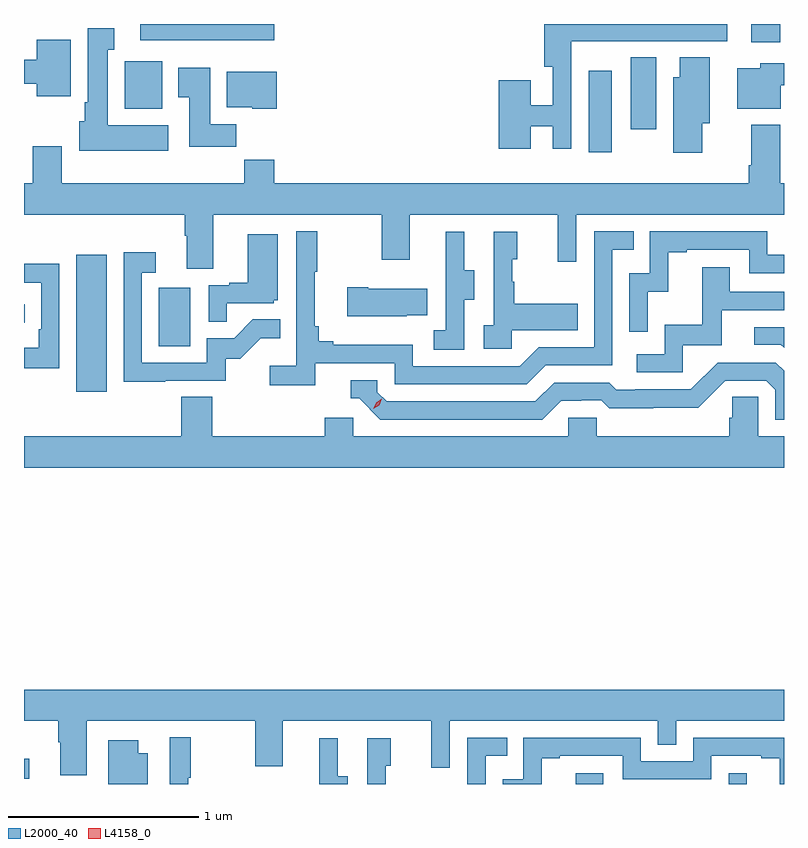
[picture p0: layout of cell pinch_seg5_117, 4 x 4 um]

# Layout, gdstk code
import gdstk
lib = gdstk.Library(unit=1e-6, precision=1e-09)
def R(c, l, rs):  # rectangles x0, y0, x1, y1
    for r in rs: c.add(gdstk.rectangle(r[:2], r[2:], *l))
def P(c, l, *ps):  # polygons
    for p in ps: c.add(gdstk.Polygon(p, *l))
L2000_40 = (2000, 40)
L4158_0 = (4158, 0)

pinch_seg5_117 = lib.new_cell('pinch_seg5_117')
R(pinch_seg5_117, L2000_40, [(1020.439,885.731,1020.583,885.787), (1021.242,885.731,1021.339,885.787), (1017.534,885.759,1017.562,885.865), (1017.809,887.796,1017.97,888.517), (1018.244,888.036,1018.408,888.343), (1017.534,888.159,1017.538,888.255), (1020.506,889.056,1020.628,889.486), (1020.728,889.176,1020.862,889.556), (1018.065,889.286,1018.261,889.536), (1021.361,889.635,1021.514,889.731), (1018.145,889.646,1018.85,889.731)])
P(pinch_seg5_117, L2000_40, [(1020.202,889.194),(1020.318,889.194),(1020.318,889.074),(1020.414,889.074),(1020.414,889.64),(1020.624,889.64),(1020.624,889.641),(1021.234,889.641),(1021.234,889.731),(1020.272,889.731),(1020.272,889.505),(1020.318,889.505),(1020.318,889.304),(1020.202,889.304),(1020.202,889.435),(1020.032,889.435),(1020.032,889.074),(1020.202,889.074)],
  [(1018.294,889.198),(1017.976,889.198),(1017.976,889.595),(1018.009,889.595),(1018.009,889.708),(1017.869,889.708),(1017.869,889.318),(1017.854,889.318),(1017.854,889.218),(1017.824,889.218),(1017.824,889.064),(1018.294,889.064)],
  [(1017.781,889.648),(1017.602,889.648),(1017.602,889.544),(1017.534,889.544),(1017.534,889.416),(1017.602,889.416),(1017.602,889.352),(1017.781,889.352)],
  [(1021.105,889.208),(1021.144,889.208),(1021.144,889.556),(1020.986,889.556),(1020.986,889.45),(1020.95,889.45),(1020.95,889.053),(1021.105,889.053)],
  [(1021.516,889.408),(1021.534,889.408),(1021.534,889.524),(1021.41,889.524),(1021.41,889.498),(1021.289,889.498),(1021.289,889.286),(1021.516,889.286)],
  [(1018.652,889.204),(1018.513,889.204),(1018.513,889.501),(1018.346,889.501),(1018.346,889.345),(1018.403,889.345),(1018.403,889.086),(1018.652,889.086)],
  [(1018.865,889.48),(1018.601,889.48),(1018.601,889.292),(1018.734,889.292),(1018.734,889.286),(1018.865,889.286)],
  [(1018.531,888.728),(1019.416,888.728),(1019.416,888.489),(1019.563,888.489),(1019.563,888.728),(1020.344,888.728),(1020.344,888.48),(1020.441,888.48),(1020.441,888.728),(1021.534,888.728),(1021.534,888.892),(1021.514,888.892),(1021.514,889.201),(1021.361,889.201),(1021.361,888.988),(1021.349,888.988),(1021.349,888.892),(1018.85,888.892),(1018.85,889.016),(1018.693,889.016),(1018.693,888.892),(1017.733,888.892),(1017.733,889.087),(1017.581,889.087),(1017.581,888.892),(1017.534,888.892),(1017.534,888.728),(1018.379,888.728),(1018.379,888.616),(1018.391,888.616),(1018.391,888.442),(1018.531,888.442)],
  [(1019.066,887.946),(1019.484,887.946),(1019.484,887.835),(1020.181,887.835),(1020.28,887.934),(1020.63,887.934),(1020.63,888.543),(1020.743,888.543),(1020.743,888.639),(1020.534,888.639),(1020.534,888.03),(1020.243,888.03),(1020.144,887.931),(1019.58,887.931),(1019.58,888.043),(1019.161,888.043),(1019.161,888.062),(1019.084,888.062),(1019.084,888.139),(1019.065,888.139),(1019.065,888.427),(1019.077,888.427),(1019.077,888.64),(1018.968,888.64),(1018.968,887.932),(1018.827,887.932),(1018.827,887.83),(1019.066,887.83)],
  [(1020.816,888.323),(1020.926,888.323),(1020.926,888.531),(1021.021,888.531),(1021.021,888.543),(1021.35,888.543),(1021.35,888.42),(1021.534,888.42),(1021.534,888.516),(1021.446,888.516),(1021.446,888.639),(1020.828,888.639),(1020.828,888.42),(1020.72,888.42),(1020.72,888.111),(1020.816,888.111)],
  [(1020.102,888.119),(1020.449,888.119),(1020.449,888.259),(1020.115,888.259),(1020.115,888.374),(1020.105,888.374),(1020.105,888.492),(1020.13,888.492),(1020.13,888.637),(1020.006,888.637),(1020.006,888.146),(1019.955,888.146),(1019.955,888.021),(1020.102,888.021)],
  [(1019.85,888.28),(1019.905,888.28),(1019.905,888.435),(1019.851,888.435),(1019.851,888.637),(1019.753,888.637),(1019.753,888.423),(1019.754,888.423),(1019.754,888.119),(1019.691,888.119),(1019.691,888.016),(1019.85,888.016)],
  [(1018.601,888.261),(1018.848,888.261),(1018.848,888.276),(1018.87,888.276),(1018.87,888.625),(1018.712,888.625),(1018.712,888.37),(1018.613,888.37),(1018.613,888.357),(1018.506,888.357),(1018.506,888.163),(1018.601,888.163)],
  [(1018.277,887.853),(1018.596,887.853),(1018.596,887.97),(1018.672,887.97),(1018.779,888.077),(1018.883,888.077),(1018.883,888.176),(1018.739,888.176),(1018.641,888.078),(1018.497,888.078),(1018.497,887.949),(1018.155,887.949),(1018.155,888.423),(1018.228,888.423),(1018.228,888.529),(1018.059,888.529),(1018.059,887.848),(1018.277,887.848)],
  [(1017.72,888.47),(1017.534,888.47),(1017.534,888.369),(1017.624,888.369),(1017.624,888.124),(1017.611,888.124),(1017.611,888.028),(1017.534,888.028),(1017.534,887.919),(1017.72,887.919)],
  [(1021.002,888.039),(1021.207,888.039),(1021.207,888.225),(1021.534,888.225),(1021.534,888.321),(1021.249,888.321),(1021.249,888.451),(1021.105,888.451),(1021.105,888.148),(1020.906,888.148),(1020.906,887.994),(1020.759,887.994),(1020.759,887.898),(1021.002,887.898)],
  [(1019.549,888.197),(1019.657,888.197),(1019.657,888.337),(1019.347,888.337),(1019.347,888.345),(1019.235,888.345),(1019.235,888.194),(1019.549,888.194)],
  [(1021.534,888.135),(1021.377,888.135),(1021.377,888.042),(1021.518,888.042),(1021.534,888.026)],
  [(1020.361,887.748),(1020.468,887.748),(1020.468,887.751),(1020.571,887.751),(1020.613,887.709),(1020.846,887.709),(1020.846,887.711),(1021.082,887.711),(1021.224,887.853),(1021.44,887.853),(1021.488,887.805),(1021.488,887.649),(1021.534,887.649),(1021.534,887.906),(1021.491,887.949),(1021.185,887.949),(1021.044,887.808),(1020.751,887.808),(1020.751,887.805),(1020.652,887.805),(1020.613,887.844),(1020.324,887.844),(1020.225,887.745),(1019.442,887.745),(1019.394,887.793),(1019.394,887.856),(1019.255,887.856),(1019.255,887.76),(1019.298,887.76),(1019.409,887.649),(1020.262,887.649)],
  [(1021.534,887.56),(1021.398,887.56),(1021.398,887.768),(1021.261,887.768),(1021.261,887.658),(1021.247,887.658),(1021.247,887.56),(1020.549,887.56),(1020.549,887.658),(1020.399,887.658),(1020.399,887.56),(1019.268,887.56),(1019.268,887.658),(1019.117,887.658),(1019.117,887.56),(1018.526,887.56),(1018.526,887.768),(1018.361,887.768),(1018.361,887.56),(1017.534,887.56),(1017.534,887.396),(1021.534,887.396)],
  [(1017.865,886.064),(1018.75,886.064),(1018.75,885.825),(1018.897,885.825),(1018.897,886.064),(1019.678,886.064),(1019.678,885.816),(1019.775,885.816),(1019.775,886.064),(1020.87,886.064),(1020.87,885.937),(1020.966,885.937),(1020.966,886.064),(1021.534,886.064),(1021.534,886.228),(1017.534,886.228),(1017.534,886.064),(1017.713,886.064),(1017.713,885.952),(1017.725,885.952),(1017.725,885.778),(1017.865,885.778)],
  [(1018.399,885.763),(1018.411,885.763),(1018.411,885.976),(1018.302,885.976),(1018.302,885.731),(1018.399,885.731)],
  [(1019.964,885.879),(1020.077,885.879),(1020.077,885.975),(1019.868,885.975),(1019.868,885.731),(1019.964,885.731)],
  [(1020.26,885.867),(1020.355,885.867),(1020.355,885.879),(1020.684,885.879),(1020.684,885.756),(1021.152,885.756),(1021.152,885.879),(1021.415,885.879),(1021.415,885.867),(1021.511,885.867),(1021.511,885.731),(1021.534,885.731),(1021.534,885.975),(1021.056,885.975),(1021.056,885.852),(1020.78,885.852),(1020.78,885.975),(1020.162,885.975),(1020.162,885.756),(1020.054,885.756),(1020.054,885.731),(1020.26,885.731)],
  [(1019.239,885.771),(1019.185,885.771),(1019.185,885.973),(1019.087,885.973),(1019.087,885.759),(1019.088,885.759),(1019.088,885.731),(1019.239,885.731)],
  [(1019.439,885.828),(1019.464,885.828),(1019.464,885.973),(1019.34,885.973),(1019.34,885.731),(1019.439,885.731)],
  [(1018.186,885.892),(1018.135,885.892),(1018.135,885.961),(1017.977,885.961),(1017.977,885.731),(1018.186,885.731)])
P(pinch_seg5_117, L4158_0, [(1019.373,887.705),(1019.373,887.706),(1019.388,887.738),(1019.418,887.758),(1019.418,887.758),(1019.418,887.758),(1019.403,887.725),(1019.373,887.705)])

lib.write_gds('pinch_seg5_117.gds')
